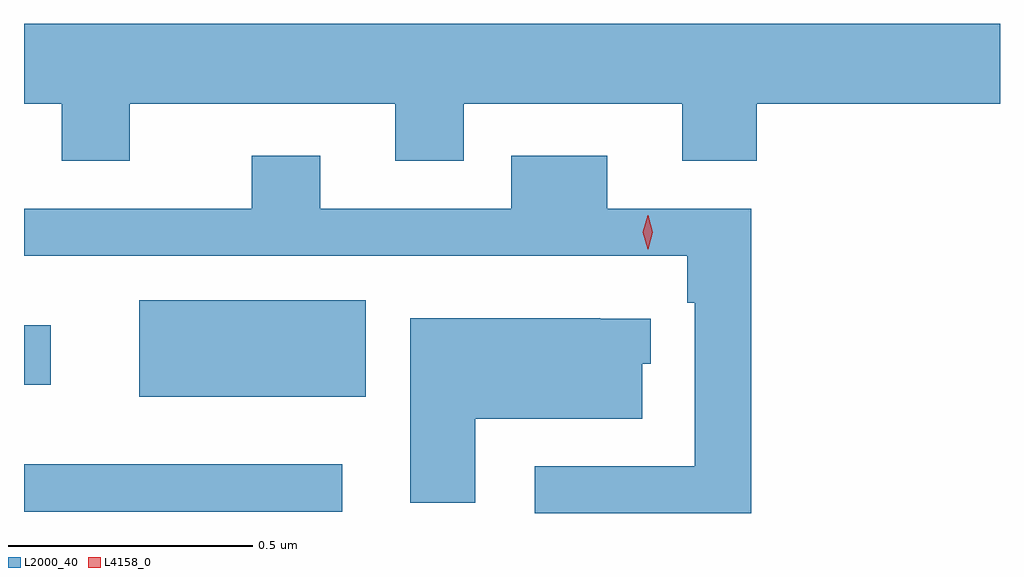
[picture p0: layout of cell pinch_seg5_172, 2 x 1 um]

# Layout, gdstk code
import gdstk
lib = gdstk.Library(unit=1e-6, precision=1e-09)
def R(c, l, rs):  # rectangles x0, y0, x1, y1
    for r in rs: c.add(gdstk.rectangle(r[:2], r[2:], *l))
def P(c, l, *ps):  # polygons
    for p in ps: c.add(gdstk.Polygon(p, *l))
L2000_40 = (2000, 40)
L4158_0 = (4158, 0)

pinch_seg5_172 = lib.new_cell('pinch_seg5_172')
R(pinch_seg5_172, L2000_40, [(1126.494,882.564,1127.146,882.661), (1126.73,882.8,1127.194,882.997), (1126.494,882.824,1126.549,882.946)])
P(pinch_seg5_172, L2000_40, [(1126.711,883.4),(1127.255,883.4),(1127.255,883.283),(1127.395,883.283),(1127.395,883.4),(1127.843,883.4),(1127.843,883.283),(1127.996,883.283),(1127.996,883.4),(1128.494,883.4),(1128.494,883.564),(1126.494,883.564),(1126.494,883.4),(1126.571,883.4),(1126.571,883.283),(1126.711,883.283)],
  [(1127.984,883.185),(1127.689,883.185),(1127.689,883.294),(1127.492,883.294),(1127.492,883.185),(1127.101,883.185),(1127.101,883.294),(1126.961,883.294),(1126.961,883.185),(1126.494,883.185),(1126.494,883.089),(1127.853,883.089),(1127.853,882.992),(1127.868,882.992),(1127.868,882.657),(1127.541,882.657),(1127.541,882.561),(1127.984,882.561)],
  [(1127.419,882.755),(1127.761,882.755),(1127.761,882.867),(1127.778,882.867),(1127.778,882.96),(1127.675,882.96),(1127.675,882.961),(1127.285,882.961),(1127.285,882.582),(1127.419,882.582)])
P(pinch_seg5_172, L4158_0, [(1127.772,883.102),(1127.772,883.102),(1127.762,883.137),(1127.772,883.172),(1127.772,883.172),(1127.773,883.172),(1127.782,883.137),(1127.773,883.102)])

lib.write_gds('pinch_seg5_172.gds')
